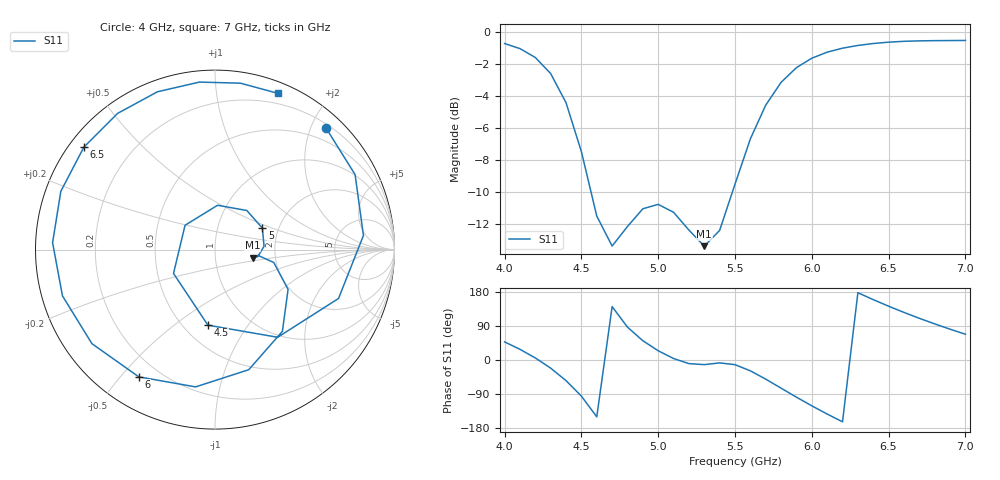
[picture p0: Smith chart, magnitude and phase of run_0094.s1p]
! Touchstone file exported from HFSS 2024.2.0
!  File:  C:/Users/wsak9/Desktop/Sim Fast/Widenad Patch/WP_AI_V1_sweep.aedt
!  Generated:  06:50:19 PM Oct 13, 2026
!  Design:  A1_model
!  Project:  WP_AI_V1_sweep
!  Setup:  Setup1
!  Solution:  Sweep
! Variables:
!  Air_gap = 2.57mm
!  Curve_Amp1 = 0.75
!  Curve_len1 = 1
!  Curve_pos = 12.045mm
!  Extra = 5.24mm
!  H_sub = 0.79mm
!  L_Patch = 20.09mm
!  L_Patch1 = 15.9mm
!  Sx = 2.63mm
!  Sy = 0.49mm
!  WS = 0.95mm
!  W_Patch = 13.1mm
!  W_Patch1 = 10.66mm
!Data is not renormalized
# GHz S MA
! Terminal data exported
! Port[1] = 1
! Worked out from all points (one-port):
!   31 points, 4 GHz to 7 GHz, reference per port
!   lowest |S11| = -13.4 dB at 5.3 GHz (marker M1), VSWR 1.55
!   |S11| at or under -10 dB: 4.563 GHz to 5.483 GHz (919.5 MHz wide, 18.3 % of centre)
!   S11 on the Smith chart (normalised r, x): 4 GHz: 0.26, +2.23; 4.5 GHz: 0.65, -0.67; 5 GHz: 1.65, +0.43; 6 GHz: 0.13, -0.56; 6.5 GHz: 0.04, +0.34; 7 GHz: 0.10, +1.48
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4  0.9182 47.8
4.1  0.8853 28.2
4.2  0.8308 5.4
4.3  0.7401 -21.6
4.4  0.6005 -54.4
4.5  0.4229 -95.4
4.6  0.2666 -150.1
4.7  0.215 140.9
4.8  0.2474 86.7
4.9  0.2809 50.9
5  0.2899 24.4
5.2  0.2411 -9.6
5.3  0.2148 -12.2
5.4  0.2406 -7.6
5.5  0.3351 -12.3
5.6  0.4635 -28.6
5.7  0.5903 -50.5
5.8  0.6951 -74.3
5.9  0.7725 -98.1
6  0.8264 -120.9
6.1  0.863 -142.6
6.2  0.8881 -163.1
6.3  0.9057 177.6
6.4  0.9183 159.3
6.5  0.9272 142.0
6.7  0.936 110.1
6.8  0.9373 95.3
7  0.9386 68.0
